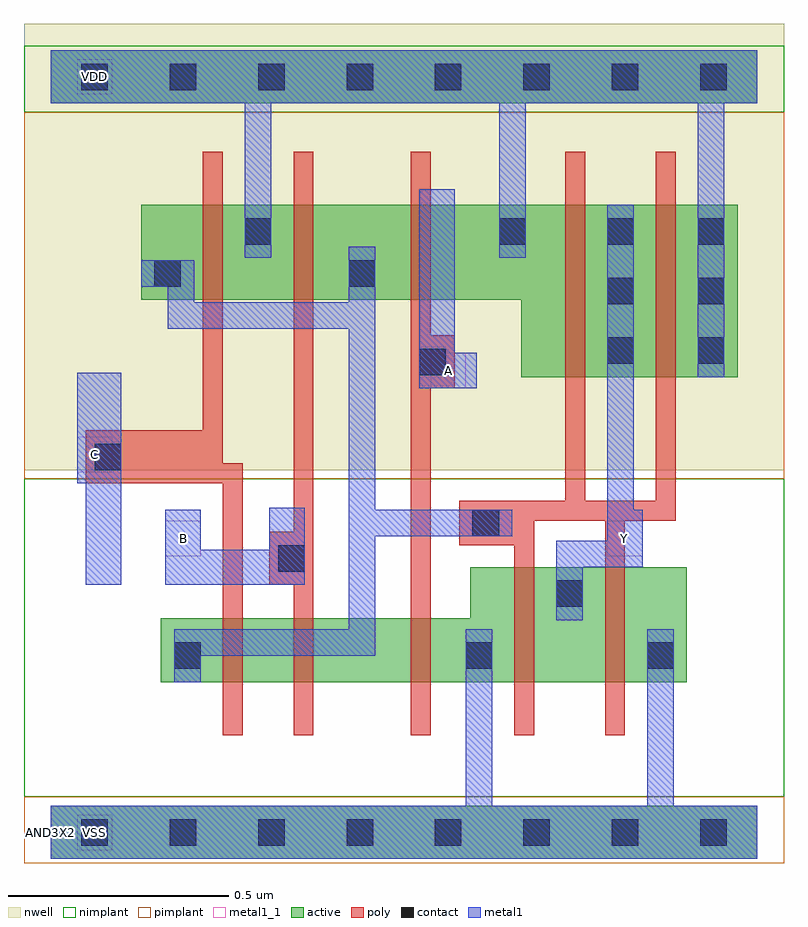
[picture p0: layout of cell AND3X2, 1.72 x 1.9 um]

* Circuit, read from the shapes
.subckt AND3X2 A B C VDD VSS Y
M1 n1 C n2 VSS nfet w=0.145u l=0.045u
M2 n3 B n1 VSS nfet w=0.145u l=0.045u
M3 VSS A n3 VSS nfet w=0.145u l=0.045u
M4 Y n2 VSS VSS nfet w=0.26u l=0.045u m=2
M5 VDD C n2 VDD pfet w=0.215u l=0.045u
M6 n2 B VDD VDD pfet w=0.215u l=0.045u
M7 VDD A n2 VDD pfet w=0.215u l=0.045u
M8 Y n2 VDD VDD pfet w=0.39u l=0.045u m=2
.ends

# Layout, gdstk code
import gdstk
lib = gdstk.Library(unit=1e-6, precision=5e-10)
def R(c, l, rs):  # rectangles x0, y0, x1, y1
    for r in rs: c.add(gdstk.rectangle(r[:2], r[2:], *l))
def A(c, l, x, y, w, h, nx, ny, dx, dy):  # array of equal rectangles
    R(c, l, [(x+i*dx, y+j*dy, x+i*dx+w, y+j*dy+h) for i in range(nx) for j in range(ny)])
def P(c, l, *ps):  # polygons
    for p in ps: c.add(gdstk.Polygon(p, *l))
active = (1, 0)
nwell = (2, 0)
poly = (3, 0)
nimplant = (4, 0)
pimplant = (5, 0)
contact = (6, 0)
metal1 = (7, 0)
metal1_1 = (7, 1)

and3x2 = lib.new_cell('AND3X2')
R(and3x2, active, [(0,-0.06,1.6,0.06), (0,1.65,1.6,1.77)])
P(and3x2, active, [(0.205,1.42),(1.555,1.42),(1.555,1.03),(1.065,1.03),(1.065,1.205),(0.205,1.205)],
  [(0.95,0.6),(1.44,0.6),(1.44,0.34),(0.25,0.34),(0.25,0.485),(0.95,0.485)])
R(and3x2, nwell, [(-0.06,0.82,1.66,1.83)])
P(and3x2, poly, [(0.345,1.54),(0.39,1.54),(0.39,0.835),(0.435,0.835),(0.435,0.22),(0.39,0.22),(0.39,0.79),(0.08,0.79),(0.08,0.91),(0.345,0.91)],
  [(0.55,1.54),(0.595,1.54),(0.595,0.22),(0.55,0.22),(0.55,0.56),(0.495,0.56),(0.495,0.68),(0.55,0.68)],
  [(0.815,1.54),(0.86,1.54),(0.86,1.125),(0.915,1.125),(0.915,1.005),(0.86,1.005),(0.86,0.22),(0.815,0.22)],
  [(1.165,1.54),(1.21,1.54),(1.21,0.75),(1.37,0.75),(1.37,1.54),(1.415,1.54),(1.415,0.705),(1.3,0.705),(1.3,0.22),(1.255,0.22),(1.255,0.705),(1.095,0.705),(1.095,0.22),(1.05,0.22),(1.05,0.65),(0.925,0.65),(0.925,0.75),(1.165,0.75)])
R(and3x2, nimplant, [(-0.06,0.08,1.66,0.8), (-0.06,1.63,1.66,1.78)])
R(and3x2, pimplant, [(-0.06,-0.07,1.66,0.08), (-0.06,0.8,1.66,1.63)])
A(and3x2, contact, 0.07, -0.03, 0.06, 0.06, 8, 2, 0.2, 1.71)
A(and3x2, contact, 1.26, 1.06, 0.06, 0.06, 1, 3, 0, 0.135)
A(and3x2, contact, 1.465, 1.06, 0.06, 0.06, 1, 3, 0, 0.135)
R(and3x2, contact, [(0.28,0.37,0.34,0.43), (0.94,0.37,1,0.43), (1.35,0.37,1.41,0.43), (1.145,0.51,1.205,0.57), (0.515,0.59,0.575,0.65), (0.955,0.67,1.015,0.73), (0.1,0.82,0.16,0.88), (0.835,1.035,0.895,1.095), (0.235,1.235,0.295,1.295), (0.675,1.235,0.735,1.295), (0.44,1.33,0.5,1.39), (1.015,1.33,1.075,1.39)])
P(and3x2, metal1, [(0,1.77),(1.6,1.77),(1.6,1.65),(1.525,1.65),(1.525,1.03),(1.465,1.03),(1.465,1.65),(1.075,1.65),(1.075,1.3),(1.015,1.3),(1.015,1.65),(0.5,1.65),(0.5,1.3),(0.44,1.3),(0.44,1.65),(0,1.65)],
  [(0.205,1.295),(0.325,1.295),(0.325,1.2),(0.675,1.2),(0.675,1.325),(0.735,1.325),(0.735,0.73),(1.045,0.73),(1.045,0.67),(0.735,0.67),(0.735,0.4),(0.34,0.4),(0.34,0.34),(0.28,0.34),(0.28,0.46),(0.675,0.46),(0.675,1.14),(0.265,1.14),(0.265,1.235),(0.205,1.235)],
  [(1.26,1.42),(1.32,1.42),(1.32,0.73),(1.34,0.73),(1.34,0.6),(1.205,0.6),(1.205,0.48),(1.145,0.48),(1.145,0.66),(1.26,0.66)],
  [(0.06,1.04),(0.16,1.04),(0.16,0.56),(0.08,0.56),(0.08,0.79),(0.06,0.79)],
  [(0.26,0.73),(0.34,0.73),(0.34,0.64),(0.495,0.64),(0.495,0.735),(0.575,0.735),(0.575,0.56),(0.26,0.56)],
  [(0.835,1.455),(0.915,1.455),(0.915,1.085),(0.965,1.085),(0.965,1.005),(0.835,1.005)],
  [(0.94,0.46),(1,0.46),(1,0.06),(1.35,0.06),(1.35,0.46),(1.41,0.46),(1.41,0.06),(1.6,0.06),(1.6,-0.06),(0,-0.06),(0,0.06),(0.94,0.06)])
A(and3x2, metal1_1, 0.06, -0.04, 0.08, 0.08, 1, 3, 0, 0.855)
R(and3x2, metal1_1, [(0.26,0.625,0.34,0.705), (1.26,0.625,1.34,0.705), (0.86,1.005,0.94,1.085)])
and3x2.add(gdstk.Label('Y', (1.3,0.665), layer=7, texttype=1))
and3x2.add(gdstk.Label('A', (0.9,1.045), layer=7, texttype=1))
and3x2.add(gdstk.Label('B', (0.3,0.665), layer=7, texttype=1))
and3x2.add(gdstk.Label('C', (0.1,0.855), layer=7, texttype=1))
and3x2.add(gdstk.Label('VDD', (0.1,1.71), layer=7, texttype=1))
and3x2.add(gdstk.Label('VSS', (0.1,0), layer=7, texttype=1))
and3x2.add(gdstk.Label('AND3X2', (0,0), layer=63, texttype=0))

lib.write_gds('AND3X2.gds')
